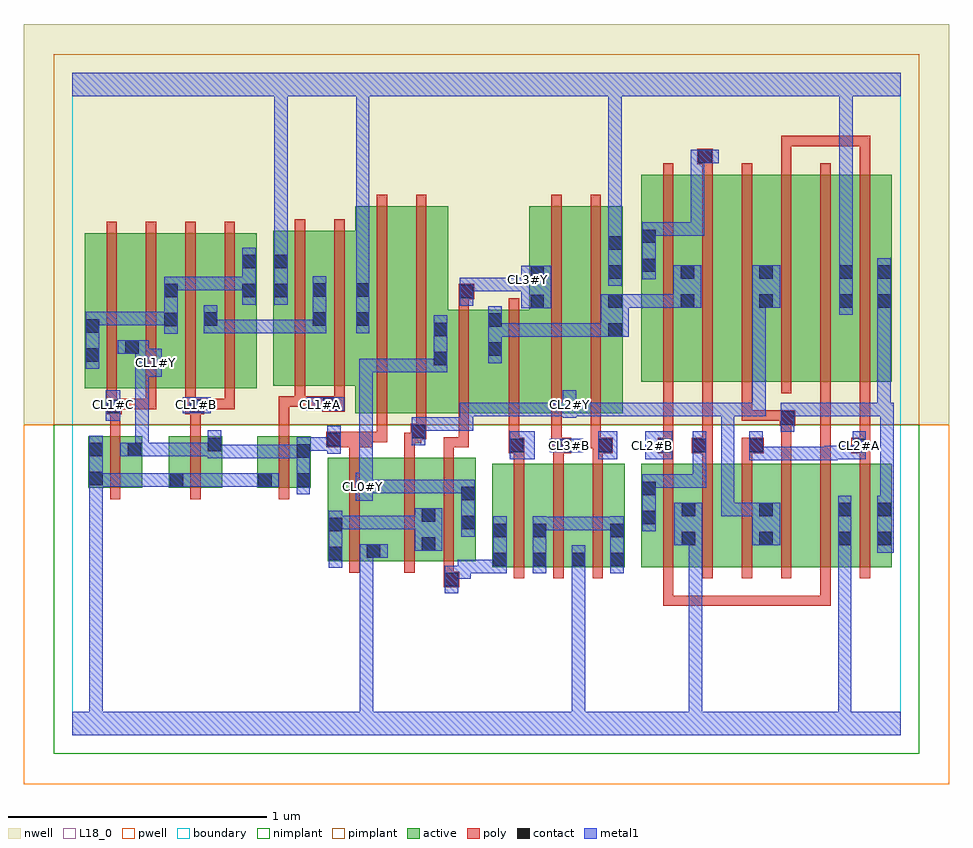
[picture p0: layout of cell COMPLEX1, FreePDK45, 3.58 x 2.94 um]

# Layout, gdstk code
import gdstk
lib = gdstk.Library(unit=1e-6, precision=1e-09)
def R(c, l, rs):  # rectangles x0, y0, x1, y1
    for r in rs: c.add(gdstk.rectangle(r[:2], r[2:], *l))
def A(c, l, x, y, w, h, nx, ny, dx, dy):  # array of equal rectangles
    R(c, l, [(x+i*dx, y+j*dy, x+i*dx+w, y+j*dy+h) for i in range(nx) for j in range(ny)])
active = (1, 0)
pwell = (2, 0)
nwell = (3, 0)
nimplant = (4, 0)
pimplant = (5, 0)
poly = (9, 0)
contact = (10, 0)
metal1 = (11, 0)
L18_0 = (18, 0)
boundary = (235, 0)

complex1 = lib.new_cell('COMPLEX1')
A(complex1, active, 0.048, 1.34, 0.212, 0.6, 3, 1, 0.152, 0)
R(complex1, active, [(1.622,0.65,1.834,1.05), (1.622,0.65,1.682,1.05), (1.774,0.65,1.986,1.05), (1.774,0.65,1.834,0.822), (1.926,0.65,2.134,1.05), (1.926,0.65,1.986,0.71), (2.074,0.65,2.134,1.05), (2.198,0.65,2.41,1.05), (2.35,0.65,2.53,1.05), (2.53,0.65,2.71,1.05), (2.65,0.65,2.834,1.05), (2.834,0.65,3.014,1.05), (2.954,0.65,3.166,1.05), (0.986,0.672,1.046,1.072), (0.986,0.672,1.194,1.072), (1.134,0.672,1.194,1.072), (1.134,0.672,1.406,1.072), (1.346,0.672,1.558,1.072), (1.346,0.672,1.406,1.072), (2.35,0.73,2.41,0.902), (2.65,0.73,2.71,0.902), (2.954,0.73,3.014,0.902), (3.106,0.73,3.166,1.05), (1.498,0.756,1.558,1.072), (2.198,0.756,2.258,1.05), (0.062,0.956,0.122,1.156), (0.062,0.956,0.27,1.156), (0.21,0.956,0.27,1.156), (0.372,0.956,0.432,1.156), (0.372,0.956,0.58,1.156), (0.52,0.956,0.58,1.156), (0.714,0.956,0.774,1.156), (0.714,0.956,0.922,1.156), (0.862,0.956,0.922,1.156), (1.092,1.244,1.272,2.044), (1.272,1.244,1.452,2.044), (1.392,1.244,1.452,1.644), (1.392,1.244,1.662,1.644), (1.602,1.244,1.662,1.644), (1.602,1.244,1.826,1.644), (1.766,1.244,1.946,2.044), (1.946,1.244,2.126,2.044), (2.066,1.244,2.126,2.044), (0.048,1.34,0.108,1.844), (0.352,1.34,0.412,1.844), (0.504,1.34,0.712,1.94), (0.504,1.34,0.564,1.844), (0.652,1.34,0.712,1.86), (0.776,1.35,0.984,1.95), (0.776,1.35,0.836,1.95), (0.924,1.35,1.152,1.95), (0.924,1.35,0.984,1.844), (2.198,1.366,2.258,2.044), (2.198,1.366,2.406,2.166), (2.346,1.366,2.53,2.166), (2.53,1.366,2.71,2.166), (2.65,1.366,2.71,2.044), (2.65,1.366,2.834,2.166), (2.834,1.366,3.018,2.166), (2.958,1.366,3.166,2.166), (3.106,1.366,3.166,2.044), (0.2,1.47,0.26,1.844), (1.092,1.578,1.152,1.844), (1.766,1.644,1.826,1.818), (2.346,1.648,2.406,2.044), (2.958,1.648,3.018,2.044)])
R(complex1, pwell, [(-0.188,-0.188,3.388,1.2)])
R(complex1, nwell, [(-0.188,1.2,3.388,2.748)])
R(complex1, nimplant, [(-0.072,-0.072,3.272,1.2)])
R(complex1, pimplant, [(-0.072,1.2,3.272,2.632)])
A(complex1, poly, 1.706, 0.606, 0.04, 0.488, 3, 1, 0.152, 0)
A(complex1, poly, 2.282, 0.606, 0.04, 0.488, 6, 1, 0.152, 0)
A(complex1, poly, 1.706, 1.054, 0.04, 0.076, 3, 1, 0.152, 0)
A(complex1, poly, 2.282, 1.054, 0.04, 0.076, 3, 1, 0.152, 0)
A(complex1, poly, 0.132, 1.26, 0.04, 0.076, 4, 1, 0.152, 0)
A(complex1, poly, 0.132, 1.296, 0.04, 0.688, 4, 1, 0.152, 0)
A(complex1, poly, 2.282, 1.322, 0.04, 0.888, 6, 1, 0.152, 0)
R(complex1, poly, [(2.282,0.5,2.322,0.646), (2.282,0.5,2.322,0.54), (2.282,0.5,2.322,0.54), (2.282,0.5,2.322,0.54), (2.282,0.5,2.52,0.54), (2.48,0.5,2.52,0.54), (2.48,0.5,2.52,0.54), (2.48,0.5,2.52,0.54), (2.48,0.5,2.666,0.54), (2.626,0.5,2.666,0.54), (2.626,0.5,2.666,0.54), (2.626,0.5,2.666,0.54), (2.626,0.5,2.824,0.54), (2.784,0.5,2.824,0.54), (2.784,0.5,2.93,0.54), (2.89,0.5,2.93,0.646), (2.89,0.5,2.93,0.54), (2.89,0.5,2.93,0.54), (2.89,0.5,2.93,0.54), (1.434,0.572,1.494,0.632), (1.434,0.592,1.474,0.668), (1.07,0.628,1.11,1.116), (1.282,0.628,1.322,1.116), (1.434,0.628,1.474,1.116), (0.146,0.912,0.186,1.2), (0.456,0.912,0.496,1.2), (0.798,0.912,0.838,1.2), (2.738,1.054,2.778,1.236), (2.89,1.054,2.93,1.208), (3.042,1.054,3.082,1.13), (1.07,1.076,1.11,1.152), (1.282,1.076,1.322,1.168), (1.434,1.076,1.474,1.152), (1.686,1.09,1.746,1.15), (1.858,1.09,1.928,1.15), (2.01,1.09,2.088,1.15), (2.262,1.09,2.322,1.15), (2.392,1.09,2.474,1.15), (2.586,1.09,2.672,1.15), (3.01,1.09,3.082,1.15), (1.686,1.11,1.726,1.15), (1.686,1.11,1.726,1.15), (1.686,1.11,1.726,1.24), (1.85,1.11,1.89,1.24), (1.85,1.11,1.898,1.15), (1.858,1.11,1.898,1.15), (2.002,1.11,2.042,1.24), (2.002,1.11,2.05,1.15), (2.01,1.11,2.05,1.15), (2.282,1.11,2.322,1.15), (2.282,1.11,2.322,1.15), (2.282,1.11,2.322,1.362), (2.434,1.11,2.474,1.15), (2.434,1.11,2.474,1.15), (2.434,1.11,2.474,1.362), (3.042,1.11,3.082,1.15), (3.042,1.11,3.082,1.15), (3.042,1.11,3.082,1.362), (0.98,1.112,1.158,1.172), (1.434,1.112,1.532,1.152), (1.492,1.112,1.532,1.152), (1.492,1.112,1.532,1.152), (1.492,1.112,1.532,1.24), (1.282,1.128,1.348,1.168), (1.308,1.128,1.348,1.184), (1.118,1.132,1.158,1.172), (1.118,1.132,1.216,1.172), (1.176,1.132,1.216,1.24), (1.308,1.144,1.368,1.204), (0.146,1.16,0.186,1.28), (0.456,1.16,0.496,1.28), (0.798,1.16,0.838,1.31), (1.328,1.164,1.368,1.24), (2.89,1.168,2.93,1.208), (2.89,1.168,2.93,1.208), (2.89,1.168,2.93,1.208), (2.89,1.168,2.93,1.362), (2.732,1.196,2.792,1.256), (2.738,1.196,2.778,1.236), (2.738,1.196,2.778,1.236), (1.176,1.2,1.216,2.088), (1.328,1.2,1.368,2.088), (1.492,1.2,1.532,1.688), (1.686,1.2,1.726,1.688), (1.85,1.2,1.89,2.088), (2.002,1.2,2.042,2.088), (2.586,1.216,2.626,1.362), (2.586,1.216,2.626,1.256), (2.586,1.216,2.772,1.256), (2.732,1.216,2.772,1.256), (2.732,1.216,2.772,1.256), (0.13,1.24,0.19,1.3), (0.146,1.24,0.186,1.28), (0.146,1.24,0.186,1.28), (0.436,1.24,0.51,1.3), (0.456,1.24,0.496,1.28), (0.456,1.24,0.496,1.28), (0.966,1.25,1.052,1.31), (0.15,1.26,0.324,1.3), (0.284,1.26,0.324,1.3), (0.284,1.26,0.324,1.3), (0.284,1.26,0.324,1.3), (0.47,1.26,0.628,1.3), (0.588,1.26,0.628,1.3), (0.588,1.26,0.628,1.3), (0.588,1.26,0.628,1.3), (0.798,1.27,0.838,1.31), (0.798,1.27,0.838,1.31), (0.798,1.27,0.9,1.31), (0.86,1.27,0.9,1.31), (0.86,1.27,0.9,1.31), (0.86,1.27,0.9,1.346), (0.86,1.27,1.006,1.31), (1.012,1.27,1.052,1.346), (0.86,1.306,0.9,1.994), (1.012,1.306,1.052,1.994), (1.492,1.648,1.532,1.724), (1.492,1.684,1.552,1.744), (2.434,2.17,2.474,2.246), (2.738,2.17,2.778,2.316), (3.042,2.17,3.082,2.316), (2.414,2.206,2.474,2.266), (2.738,2.276,2.778,2.316), (2.738,2.276,2.93,2.316), (2.89,2.276,2.93,2.316), (2.89,2.276,2.93,2.316), (2.89,2.276,2.93,2.316), (2.89,2.276,3.082,2.316), (3.042,2.276,3.082,2.316), (3.042,2.276,3.082,2.316), (3.042,2.276,3.082,2.316)])
A(complex1, contact, 1.626, 0.654, 0.052, 0.052, 3, 1, 0.152, 0)
A(complex1, contact, 2.07, 1.54, 0.052, 0.052, 1, 4, 0, 0.112)
R(complex1, contact, [(1.438,0.576,1.49,0.628), (2.078,0.654,2.13,0.706), (0.99,0.676,1.042,0.728), (1.138,0.686,1.19,0.738), (1.35,0.714,1.402,0.766), (2.354,0.734,2.406,0.786), (2.654,0.734,2.706,0.786), (2.958,0.734,3.01,0.786), (3.11,0.734,3.162,0.786), (1.626,0.766,1.678,0.818), (1.778,0.766,1.83,0.818), (2.078,0.766,2.13,0.818), (0.99,0.788,1.042,0.84), (1.502,0.796,1.554,0.848), (2.202,0.816,2.254,0.868), (1.35,0.826,1.402,0.878), (2.354,0.846,2.406,0.898), (2.654,0.846,2.706,0.898), (2.958,0.846,3.01,0.898), (3.11,0.846,3.162,0.898), (1.502,0.908,1.554,0.96), (2.202,0.928,2.254,0.98), (0.376,0.96,0.428,1.012), (0.718,0.96,0.77,1.012), (0.866,0.96,0.918,1.012), (0.066,0.966,0.118,1.018), (0.866,1.072,0.918,1.124), (0.066,1.078,0.118,1.13), (0.214,1.078,0.266,1.13), (1.69,1.094,1.742,1.146), (1.872,1.094,1.924,1.146), (2.032,1.094,2.084,1.146), (2.266,1.094,2.318,1.146), (2.396,1.094,2.448,1.146), (2.616,1.094,2.668,1.146), (3.014,1.094,3.066,1.146), (0.524,1.098,0.576,1.15), (0.984,1.116,1.036,1.168), (1.312,1.148,1.364,1.2), (2.736,1.2,2.788,1.252), (0.134,1.244,0.186,1.296), (0.454,1.244,0.506,1.296), (0.97,1.254,1.022,1.306), (1.396,1.43,1.448,1.482), (0.052,1.444,0.104,1.496), (1.606,1.466,1.658,1.518), (0.204,1.474,0.256,1.526), (1.396,1.542,1.448,1.594), (0.052,1.556,0.104,1.608), (1.606,1.578,1.658,1.63), (0.356,1.58,0.408,1.632), (0.508,1.582,0.56,1.634), (0.928,1.582,0.98,1.634), (1.096,1.582,1.148,1.634), (1.77,1.65,1.822,1.702), (2.35,1.652,2.402,1.704), (2.654,1.652,2.706,1.704), (2.962,1.652,3.014,1.704), (3.11,1.652,3.162,1.704), (1.496,1.688,1.548,1.74), (0.356,1.692,0.408,1.744), (0.656,1.692,0.708,1.744), (0.78,1.692,0.832,1.744), (0.928,1.694,0.98,1.746), (1.096,1.694,1.148,1.746), (1.77,1.762,1.822,1.814), (2.35,1.764,2.402,1.816), (2.654,1.764,2.706,1.816), (2.962,1.764,3.014,1.816), (3.11,1.764,3.162,1.816), (2.202,1.79,2.254,1.842), (0.656,1.804,0.708,1.856), (0.78,1.804,0.832,1.856), (2.202,1.902,2.254,1.954), (2.418,2.21,2.47,2.262)])
R(complex1, metal1, [(0,0,3.2,0.092), (0.066,0.04,0.118,0.092), (0.066,0.04,0.118,0.092), (0.066,0.04,0.118,0.092), (0.066,0.04,0.118,0.092), (0.066,0.04,0.118,0.092), (0.066,0.04,0.118,0.092), (0.066,0.04,0.118,0.092), (0.066,0.04,0.118,0.092), (0.066,0.04,0.118,0.092), (0.066,0.04,0.118,0.092), (0.066,0.04,0.118,0.092), (0.066,0.04,0.118,0.092), (0.066,0.04,0.118,0.99), (1.11,0.04,1.162,0.738), (1.93,0.04,1.982,0.092), (1.93,0.04,1.982,0.092), (1.93,0.04,1.982,0.108), (2.382,0.04,2.434,0.092), (2.382,0.04,2.434,0.092), (2.382,0.04,2.434,0.092), (2.382,0.04,2.434,0.092), (2.382,0.04,2.434,0.092), (2.382,0.04,2.434,0.092), (2.382,0.04,2.434,0.092), (2.382,0.04,2.434,0.092), (2.382,0.04,2.434,0.092), (2.382,0.04,2.434,0.092), (2.382,0.04,2.434,0.092), (2.382,0.04,2.434,0.092), (2.382,0.04,2.434,0.786), (2.958,0.04,3.01,0.092), (2.958,0.04,3.01,0.092), (2.958,0.04,3.01,0.092), (2.958,0.04,3.01,0.092), (2.958,0.04,3.01,0.092), (2.958,0.04,3.01,0.092), (2.958,0.04,3.01,0.092), (2.958,0.04,3.01,0.092), (2.958,0.04,3.01,0.092), (2.958,0.04,3.01,0.092), (2.958,0.04,3.01,0.092), (2.958,0.04,3.01,0.092), (2.958,0.04,3.01,0.758), (1.93,0.056,1.982,0.108), (1.93,0.056,1.982,0.108), (1.93,0.056,1.982,0.108), (1.93,0.056,1.982,0.108), (1.93,0.056,1.982,0.108), (1.93,0.056,1.982,0.678), (1.438,0.548,1.49,0.656), (1.438,0.604,1.54,0.656), (1.488,0.604,1.54,0.656), (1.488,0.604,1.54,0.678), (1.488,0.626,1.54,0.678), (1.488,0.626,1.678,0.678), (1.626,0.626,1.678,0.846), (1.778,0.626,1.83,0.846), (1.93,0.626,1.982,0.678), (1.93,0.626,1.982,0.678), (1.93,0.626,1.982,0.678), (1.93,0.626,1.982,0.678), (1.93,0.626,1.982,0.734), (2.078,0.626,2.13,0.846), (0.99,0.648,1.042,0.868), (1.11,0.686,1.162,0.738), (1.11,0.686,1.162,0.738), (1.11,0.686,1.162,0.738), (1.11,0.686,1.162,0.738), (1.11,0.686,1.162,0.738), (1.11,0.686,1.162,0.738), (1.11,0.686,1.162,0.738), (1.11,0.686,1.162,0.738), (1.11,0.686,1.162,0.738), (1.11,0.686,1.162,0.738), (1.11,0.686,1.162,0.738), (1.11,0.686,1.162,0.738), (1.11,0.686,1.218,0.738), (2.958,0.706,3.01,0.926), (3.11,0.706,3.174,0.926), (1.322,0.714,1.43,0.878), (2.326,0.734,2.434,0.898), (2.626,0.734,2.734,0.898), (1.502,0.768,1.554,0.988), (2.202,0.788,2.254,1.008), (1.778,0.792,1.83,0.844), (1.778,0.792,1.83,0.844), (1.778,0.792,1.946,0.844), (1.894,0.792,1.946,0.844), (1.894,0.792,2.13,0.844), (2.078,0.792,2.13,0.844), (2.078,0.792,2.13,0.844), (0.99,0.796,1.042,0.848), (0.99,0.796,1.042,0.848), (0.99,0.796,1.254,0.848), (1.202,0.796,1.254,0.848), (1.202,0.796,1.374,0.848), (1.322,0.796,1.374,0.848), (1.322,0.796,1.374,0.848), (2.506,0.846,2.558,0.898), (2.506,0.846,2.558,0.898), (2.506,0.846,2.558,0.898), (2.506,0.846,2.558,0.898), (2.506,0.846,2.558,0.898), (2.506,0.846,2.678,0.898), (2.506,0.846,2.558,1.284), (3.122,0.874,3.174,1.284), (3.122,0.874,3.174,0.926), (3.122,0.874,3.174,0.926), (1.094,0.906,1.16,1.014), (0.866,0.932,0.918,1.152), (1.108,0.936,1.16,0.988), (1.108,0.936,1.16,0.988), (1.108,0.936,1.43,0.988), (1.378,0.936,1.43,0.988), (1.378,0.936,1.484,0.988), (1.432,0.936,1.484,0.988), (1.432,0.936,1.554,0.988), (1.502,0.936,1.554,0.988), (1.502,0.936,1.554,0.988), (0.066,0.938,0.118,1.158), (0.066,0.938,0.118,0.99), (0.066,0.938,0.118,0.99), (0.066,0.938,0.118,0.99), (0.066,0.938,0.118,0.99), (2.202,0.956,2.298,1.008), (2.246,0.956,2.298,1.008), (2.246,0.956,2.448,1.008), (2.396,0.956,2.448,1.008), (2.396,0.956,2.448,1.118), (0.066,0.96,0.118,1.012), (0.066,0.96,0.118,1.012), (0.066,0.96,0.29,1.012), (0.238,0.96,0.29,1.012), (0.238,0.96,0.296,1.012), (0.244,0.96,0.296,1.012), (0.244,0.96,0.4,1.012), (0.348,0.96,0.456,1.012), (0.404,0.96,0.456,1.012), (0.404,0.96,0.456,1.012), (0.404,0.96,0.566,1.012), (0.514,0.96,0.566,1.012), (0.514,0.96,0.566,1.012), (0.514,0.96,0.566,1.012), (0.514,0.96,0.686,1.012), (0.634,0.96,0.686,1.012), (0.634,0.96,0.742,1.012), (0.69,0.96,0.798,1.012), (1.108,0.962,1.16,1.014), (1.108,0.962,1.16,1.014), (1.108,0.962,1.16,1.454), (2.616,1.062,2.668,1.118), (2.616,1.062,2.846,1.114), (2.794,1.062,2.846,1.114), (2.794,1.062,2.846,1.114), (2.794,1.062,2.846,1.114), (2.794,1.062,2.956,1.114), (2.904,1.062,2.956,1.114), (2.904,1.062,2.956,1.114), (2.904,1.062,2.956,1.118), (1.69,1.066,1.786,1.174), (2.032,1.066,2.106,1.174), (2.214,1.066,2.318,1.174), (2.396,1.066,2.448,1.118), (2.396,1.066,2.448,1.118), (2.396,1.066,2.448,1.174), (2.616,1.066,2.668,1.118), (2.616,1.066,2.668,1.174), (2.904,1.066,3.066,1.118), (3.014,1.066,3.066,1.174), (0.524,1.07,0.576,1.122), (0.524,1.07,0.576,1.122), (0.524,1.07,0.686,1.122), (0.524,1.07,0.576,1.178), (0.634,1.07,0.686,1.122), (0.634,1.07,0.808,1.122), (0.756,1.07,0.808,1.122), (0.756,1.07,0.808,1.122), (0.756,1.07,0.808,1.122), (0.756,1.07,0.918,1.122), (0.186,1.078,0.296,1.13), (0.244,1.078,0.296,1.13), (0.244,1.078,0.296,1.13), (0.244,1.078,0.45,1.13), (0.244,1.078,0.296,1.438), (0.398,1.078,0.45,1.13), (0.398,1.078,0.45,1.13), (0.398,1.078,0.45,1.13), (0.398,1.078,0.576,1.13), (0.984,1.088,1.036,1.196), (1.844,1.094,1.974,1.146), (0.866,1.1,0.918,1.152), (0.866,1.1,0.918,1.152), (0.866,1.1,0.918,1.152), (0.866,1.1,0.918,1.152), (0.866,1.1,1.036,1.152), (0.984,1.1,1.036,1.152), (0.984,1.1,1.036,1.152), (1.312,1.12,1.364,1.228), (2.736,1.172,2.788,1.28), (1.312,1.176,1.364,1.228), (1.312,1.176,1.364,1.228), (1.312,1.176,1.548,1.228), (1.496,1.176,1.548,1.228), (1.496,1.176,1.548,1.228), (1.496,1.176,1.548,1.284), (0.13,1.216,0.186,1.334), (1.894,1.226,1.946,1.334), (2.736,1.228,2.788,1.28), (2.736,1.228,2.788,1.284), (1.496,1.232,1.676,1.284), (1.624,1.232,1.676,1.284), (1.624,1.232,1.676,1.284), (1.624,1.232,1.676,1.284), (1.624,1.232,1.836,1.284), (1.784,1.232,1.836,1.284), (1.784,1.232,1.836,1.284), (1.784,1.232,1.836,1.284), (1.784,1.232,1.946,1.284), (1.894,1.232,1.946,1.284), (1.894,1.232,1.946,1.284), (1.894,1.232,2.15,1.284), (2.098,1.232,2.15,1.284), (2.098,1.232,2.26,1.284), (2.208,1.232,2.26,1.284), (2.208,1.232,2.26,1.284), (2.208,1.232,2.26,1.284), (2.208,1.232,2.428,1.284), (2.376,1.232,2.428,1.284), (2.376,1.232,2.428,1.284), (2.376,1.232,2.428,1.284), (2.376,1.232,2.558,1.284), (2.506,1.232,2.558,1.284), (2.506,1.232,2.678,1.284), (2.626,1.232,2.678,1.284), (2.626,1.232,2.678,1.284), (2.626,1.232,2.678,1.284), (2.626,1.232,2.678,1.704), (2.736,1.232,2.956,1.284), (2.904,1.232,2.956,1.284), (2.904,1.232,2.956,1.284), (2.904,1.232,2.956,1.284), (2.904,1.232,3.162,1.284), (3.11,1.232,3.162,1.676), (3.11,1.232,3.162,1.284), (3.11,1.232,3.162,1.284), (3.11,1.232,3.174,1.284), (0.426,1.244,0.534,1.306), (0.906,1.254,1.05,1.306), (0.244,1.386,0.346,1.494), (1.108,1.402,1.16,1.454), (1.108,1.402,1.16,1.454), (1.108,1.402,1.16,1.454), (1.108,1.402,1.448,1.454), (1.396,1.402,1.448,1.622), (0.052,1.416,0.104,1.636), (1.606,1.438,1.658,1.658), (0.244,1.442,0.296,1.526), (0.176,1.474,0.296,1.526), (0.244,1.474,0.296,1.526), (0.244,1.474,0.296,1.526), (1.606,1.54,1.658,1.592), (1.606,1.54,1.658,1.592), (1.606,1.54,1.836,1.592), (1.784,1.54,1.836,1.592), (1.784,1.54,1.836,1.592), (1.784,1.54,1.836,1.592), (1.784,1.54,1.946,1.592), (1.894,1.54,1.946,1.592), (1.894,1.54,1.946,1.592), (1.894,1.54,1.946,1.592), (1.894,1.54,2.094,1.592), (2.042,1.54,2.15,1.704), (0.356,1.552,0.408,1.772), (0.508,1.554,0.56,1.662), (0.508,1.554,0.566,1.606), (0.514,1.554,0.566,1.606), (0.514,1.554,0.686,1.606), (0.634,1.554,0.686,1.606), (0.634,1.554,0.796,1.606), (0.744,1.554,0.796,1.606), (0.744,1.554,0.796,1.606), (0.744,1.554,0.796,1.606), (0.744,1.554,0.98,1.606), (0.928,1.554,0.98,1.774), (1.096,1.554,1.148,1.774), (0.052,1.584,0.104,1.636), (0.052,1.584,0.104,1.636), (0.052,1.584,0.228,1.636), (0.176,1.584,0.228,1.636), (0.176,1.584,0.298,1.636), (0.246,1.584,0.298,1.636), (0.246,1.584,0.408,1.636), (2.962,1.624,3.014,1.844), (3.11,1.624,3.162,1.844), (1.734,1.65,1.85,1.814), (2.098,1.652,2.26,1.704), (2.208,1.652,2.26,1.704), (2.208,1.652,2.26,1.704), (2.208,1.652,2.26,1.704), (2.208,1.652,2.374,1.704), (2.322,1.652,2.43,1.816), (2.626,1.652,2.734,1.816), (1.496,1.66,1.548,1.768), (0.656,1.664,0.708,1.884), (0.78,1.664,0.832,1.884), (1.496,1.716,1.548,1.768), (1.496,1.716,1.548,1.768), (1.496,1.716,1.658,1.768), (1.606,1.716,1.658,1.768), (1.606,1.716,1.658,1.768), (1.606,1.716,1.658,1.768), (1.606,1.716,1.786,1.768), (0.356,1.72,0.408,1.772), (0.356,1.72,0.408,1.772), (0.356,1.72,0.576,1.772), (0.524,1.72,0.576,1.772), (0.524,1.72,0.576,1.772), (0.524,1.72,0.576,1.772), (0.524,1.72,0.708,1.772), (1.096,1.722,1.148,1.774), (1.096,1.722,1.148,1.774), (1.096,1.722,1.148,1.774), (1.096,1.722,1.148,1.774), (1.096,1.722,1.148,1.774), (1.096,1.722,1.148,1.774), (1.096,1.722,1.148,1.774), (1.096,1.722,1.148,1.774), (1.096,1.722,1.148,2.52), (2.07,1.736,2.122,1.956), (2.202,1.762,2.254,1.982), (2.962,1.792,3.014,2.52), (0.78,1.832,0.832,1.884), (0.78,1.832,0.832,1.884), (0.78,1.832,0.832,2.52), (2.07,1.904,2.122,1.956), (2.07,1.904,2.122,1.956), (2.07,1.904,2.122,1.956), (2.07,1.904,2.122,1.956), (2.07,1.904,2.122,1.956), (2.07,1.904,2.122,1.956), (2.07,1.904,2.122,1.956), (2.07,1.904,2.122,1.956), (2.07,1.904,2.122,2.52), (2.202,1.93,2.26,1.982), (2.208,1.93,2.26,1.982), (2.208,1.93,2.442,1.982), (2.39,1.93,2.442,1.982), (2.39,1.93,2.442,2.262), (2.39,2.21,2.442,2.262), (2.39,2.21,2.442,2.262), (2.39,2.21,2.498,2.262), (0,2.468,3.2,2.56), (0.78,2.468,0.832,2.52), (0.78,2.468,0.832,2.52), (0.78,2.468,0.832,2.52), (0.78,2.468,0.832,2.52), (0.78,2.468,0.832,2.52), (0.78,2.468,0.832,2.52), (0.78,2.468,0.832,2.52), (0.78,2.468,0.832,2.52), (0.78,2.468,0.832,2.52), (0.78,2.468,0.832,2.52), (2.962,2.468,3.014,2.52), (2.962,2.468,3.014,2.52), (2.962,2.468,3.014,2.52), (2.962,2.468,3.014,2.52), (2.962,2.468,3.014,2.52), (2.962,2.468,3.014,2.52), (2.962,2.468,3.014,2.52), (2.962,2.468,3.014,2.52)])
A(complex1, L18_0, 1.734, 1.094, 0.052, 0.052, 4, 1, 0.16, 0)
R(complex1, L18_0, [(0,0,3.2,0.092), (0.066,0.04,0.118,0.092), (0.066,0.04,0.118,0.092), (0.066,0.04,0.118,0.092), (0.066,0.04,0.118,0.092), (0.066,0.04,0.118,0.092), (0.066,0.04,0.118,0.092), (0.066,0.04,0.118,0.092), (0.066,0.04,0.118,0.092), (0.066,0.04,0.118,0.092), (0.066,0.04,0.118,0.092), (0.066,0.04,0.118,0.092), (0.066,0.04,0.118,0.092), (0.066,0.04,0.118,0.99), (1.11,0.04,1.162,0.738), (1.93,0.04,1.982,0.092), (1.93,0.04,1.982,0.092), (1.93,0.04,1.982,0.108), (2.382,0.04,2.434,0.092), (2.382,0.04,2.434,0.092), (2.382,0.04,2.434,0.092), (2.382,0.04,2.434,0.092), (2.382,0.04,2.434,0.092), (2.382,0.04,2.434,0.092), (2.382,0.04,2.434,0.092), (2.382,0.04,2.434,0.092), (2.382,0.04,2.434,0.092), (2.382,0.04,2.434,0.092), (2.382,0.04,2.434,0.092), (2.382,0.04,2.434,0.092), (2.382,0.04,2.434,0.786), (2.958,0.04,3.01,0.092), (2.958,0.04,3.01,0.092), (2.958,0.04,3.01,0.092), (2.958,0.04,3.01,0.092), (2.958,0.04,3.01,0.092), (2.958,0.04,3.01,0.092), (2.958,0.04,3.01,0.092), (2.958,0.04,3.01,0.092), (2.958,0.04,3.01,0.092), (2.958,0.04,3.01,0.092), (2.958,0.04,3.01,0.092), (2.958,0.04,3.01,0.092), (2.958,0.04,3.01,0.758), (1.93,0.056,1.982,0.108), (1.93,0.056,1.982,0.108), (1.93,0.056,1.982,0.108), (1.93,0.056,1.982,0.108), (1.93,0.056,1.982,0.108), (1.93,0.056,1.982,0.678), (1.438,0.548,1.49,0.656), (1.438,0.604,1.54,0.656), (1.488,0.604,1.54,0.656), (1.488,0.604,1.54,0.678), (1.488,0.626,1.54,0.678), (1.488,0.626,1.678,0.678), (1.626,0.626,1.678,0.846), (1.93,0.626,1.982,0.678), (1.93,0.626,1.982,0.678), (1.93,0.626,1.982,0.678), (1.93,0.626,1.982,0.678), (1.93,0.626,1.982,0.734), (1.11,0.686,1.162,0.738), (1.11,0.686,1.162,0.738), (1.11,0.686,1.162,0.738), (1.11,0.686,1.162,0.738), (1.11,0.686,1.162,0.738), (1.11,0.686,1.162,0.738), (1.11,0.686,1.162,0.738), (1.11,0.686,1.162,0.738), (1.11,0.686,1.162,0.738), (1.11,0.686,1.162,0.738), (1.11,0.686,1.162,0.738), (1.11,0.686,1.162,0.738), (1.11,0.686,1.218,0.738), (2.958,0.706,3.01,0.926), (2.326,0.734,2.434,0.898), (2.626,0.734,2.734,0.898), (1.502,0.768,1.554,0.988), (2.506,0.846,2.558,0.898), (2.506,0.846,2.558,0.898), (2.506,0.846,2.558,0.898), (2.506,0.846,2.558,0.898), (2.506,0.846,2.558,0.898), (2.506,0.846,2.678,0.898), (2.506,0.846,2.558,1.284), (1.094,0.906,1.16,1.014), (0.866,0.932,0.918,1.152), (1.094,0.934,1.146,0.986), (1.108,0.936,1.16,0.988), (1.108,0.936,1.16,0.988), (1.108,0.936,1.43,0.988), (1.378,0.936,1.43,0.988), (1.378,0.936,1.484,0.988), (1.432,0.936,1.484,0.988), (1.432,0.936,1.554,0.988), (1.502,0.936,1.554,0.988), (1.502,0.936,1.554,0.988), (0.066,0.938,0.118,0.99), (0.066,0.938,0.118,0.99), (0.066,0.938,0.118,0.99), (0.066,0.938,0.118,0.99), (0.066,0.938,0.118,1.158), (0.066,0.96,0.118,1.012), (0.066,0.96,0.118,1.012), (0.066,0.96,0.29,1.012), (0.238,0.96,0.29,1.012), (0.238,0.96,0.296,1.012), (0.244,0.96,0.296,1.012), (0.244,0.96,0.4,1.012), (0.348,0.96,0.456,1.012), (0.404,0.96,0.456,1.012), (0.404,0.96,0.456,1.012), (0.404,0.96,0.566,1.012), (0.514,0.96,0.566,1.012), (0.514,0.96,0.566,1.012), (0.514,0.96,0.566,1.012), (0.514,0.96,0.686,1.012), (0.634,0.96,0.686,1.012), (0.634,0.96,0.742,1.012), (0.69,0.96,0.798,1.012), (1.108,0.962,1.16,1.014), (1.108,0.962,1.16,1.014), (1.108,0.962,1.16,1.454), (2.616,1.062,2.846,1.114), (2.616,1.062,2.668,1.118), (2.794,1.062,2.846,1.114), (2.794,1.062,2.846,1.114), (2.794,1.062,2.846,1.114), (2.794,1.062,2.956,1.114), (2.904,1.062,2.956,1.114), (2.904,1.062,2.956,1.114), (2.904,1.062,2.956,1.118), (1.69,1.066,1.786,1.174), (2.032,1.066,2.106,1.174), (2.214,1.066,2.318,1.174), (2.616,1.066,2.668,1.118), (2.616,1.066,2.668,1.174), (2.904,1.066,3.066,1.118), (3.014,1.066,3.066,1.174), (0.524,1.07,0.576,1.122), (0.524,1.07,0.576,1.122), (0.524,1.07,0.686,1.122), (0.524,1.07,0.576,1.178), (0.634,1.07,0.686,1.122), (0.634,1.07,0.808,1.122), (0.756,1.07,0.808,1.122), (0.756,1.07,0.808,1.122), (0.756,1.07,0.808,1.122), (0.756,1.07,0.918,1.122), (0.186,1.078,0.296,1.13), (0.244,1.078,0.296,1.13), (0.244,1.078,0.296,1.13), (0.244,1.078,0.296,1.438), (0.244,1.078,0.45,1.13), (0.398,1.078,0.45,1.13), (0.398,1.078,0.45,1.13), (0.398,1.078,0.45,1.13), (0.398,1.078,0.576,1.13), (0.984,1.088,1.036,1.196), (1.844,1.094,1.974,1.146), (3.014,1.094,3.066,1.146), (0.866,1.1,0.918,1.152), (0.866,1.1,0.918,1.152), (0.866,1.1,0.918,1.152), (0.866,1.1,0.918,1.152), (0.866,1.1,1.036,1.152), (0.984,1.1,1.036,1.152), (0.984,1.1,1.036,1.152), (1.312,1.12,1.364,1.228), (1.312,1.176,1.364,1.228), (1.312,1.176,1.364,1.228), (1.312,1.176,1.548,1.228), (1.496,1.176,1.548,1.228), (1.496,1.176,1.548,1.228), (1.496,1.176,1.548,1.284), (0.13,1.216,0.186,1.334), (1.894,1.226,1.946,1.334), (1.496,1.232,1.676,1.284), (1.624,1.232,1.676,1.284), (1.624,1.232,1.676,1.284), (1.624,1.232,1.676,1.284), (1.624,1.232,1.836,1.284), (1.784,1.232,1.836,1.284), (1.784,1.232,1.836,1.284), (1.784,1.232,1.836,1.284), (1.784,1.232,1.946,1.284), (1.894,1.232,1.946,1.284), (1.894,1.232,1.946,1.284), (1.894,1.232,2.15,1.284), (2.098,1.232,2.15,1.284), (2.098,1.232,2.26,1.284), (2.208,1.232,2.26,1.284), (2.208,1.232,2.26,1.284), (2.208,1.232,2.26,1.284), (2.208,1.232,2.428,1.284), (2.376,1.232,2.428,1.284), (2.376,1.232,2.428,1.284), (2.376,1.232,2.428,1.284), (2.376,1.232,2.558,1.284), (2.506,1.232,2.558,1.284), (2.506,1.232,2.678,1.284), (2.626,1.232,2.678,1.284), (2.626,1.232,2.678,1.284), (2.626,1.232,2.678,1.284), (2.626,1.232,2.678,1.704), (0.426,1.244,0.534,1.306), (0.134,1.254,0.186,1.306), (0.454,1.254,0.506,1.306), (0.906,1.254,1.05,1.306), (0.934,1.254,0.986,1.306), (1.894,1.254,1.946,1.306), (0.244,1.386,0.346,1.494), (1.108,1.402,1.16,1.454), (1.108,1.402,1.16,1.454), (1.108,1.402,1.16,1.454), (1.108,1.402,1.448,1.454), (1.396,1.402,1.448,1.622), (0.294,1.414,0.346,1.466), (1.606,1.438,1.658,1.658), (0.244,1.442,0.296,1.526), (0.176,1.474,0.296,1.526), (0.244,1.474,0.296,1.526), (0.244,1.474,0.296,1.526), (1.606,1.54,1.658,1.592), (1.606,1.54,1.658,1.592), (1.606,1.54,1.836,1.592), (1.784,1.54,1.836,1.592), (1.784,1.54,1.836,1.592), (1.784,1.54,1.836,1.592), (1.784,1.54,1.946,1.592), (1.894,1.54,1.946,1.592), (1.894,1.54,1.946,1.592), (1.894,1.54,1.946,1.592), (1.894,1.54,2.094,1.592), (2.042,1.54,2.15,1.704), (1.096,1.554,1.148,1.774), (2.962,1.624,3.014,1.844), (1.734,1.65,1.85,1.814), (2.098,1.652,2.26,1.704), (2.208,1.652,2.26,1.704), (2.208,1.652,2.26,1.704), (2.208,1.652,2.26,1.704), (2.208,1.652,2.374,1.704), (2.322,1.652,2.43,1.816), (2.626,1.652,2.734,1.816), (1.496,1.66,1.548,1.768), (0.78,1.664,0.832,1.884), (1.496,1.716,1.548,1.768), (1.496,1.716,1.548,1.768), (1.496,1.716,1.658,1.768), (1.606,1.716,1.658,1.768), (1.606,1.716,1.658,1.768), (1.606,1.716,1.658,1.768), (1.606,1.716,1.786,1.768), (1.096,1.722,1.148,1.774), (1.096,1.722,1.148,1.774), (1.096,1.722,1.148,1.774), (1.096,1.722,1.148,1.774), (1.096,1.722,1.148,1.774), (1.096,1.722,1.148,1.774), (1.096,1.722,1.148,1.774), (1.096,1.722,1.148,1.774), (1.096,1.722,1.148,2.52), (1.734,1.734,1.786,1.786), (2.07,1.736,2.122,1.956), (2.962,1.792,3.014,2.52), (0.78,1.832,0.832,1.884), (0.78,1.832,0.832,1.884), (0.78,1.832,0.832,2.52), (2.07,1.904,2.122,1.956), (2.07,1.904,2.122,1.956), (2.07,1.904,2.122,1.956), (2.07,1.904,2.122,1.956), (2.07,1.904,2.122,1.956), (2.07,1.904,2.122,1.956), (2.07,1.904,2.122,1.956), (2.07,1.904,2.122,1.956), (2.07,1.904,2.122,2.52), (0,2.468,3.2,2.56), (0.78,2.468,0.832,2.52), (0.78,2.468,0.832,2.52), (0.78,2.468,0.832,2.52), (0.78,2.468,0.832,2.52), (0.78,2.468,0.832,2.52), (0.78,2.468,0.832,2.52), (0.78,2.468,0.832,2.52), (0.78,2.468,0.832,2.52), (0.78,2.468,0.832,2.52), (0.78,2.468,0.832,2.52), (2.962,2.468,3.014,2.52), (2.962,2.468,3.014,2.52), (2.962,2.468,3.014,2.52), (2.962,2.468,3.014,2.52), (2.962,2.468,3.014,2.52), (2.962,2.468,3.014,2.52), (2.962,2.468,3.014,2.52), (2.962,2.468,3.014,2.52)])
R(complex1, boundary, [(0,0,3.2,2.56)])
complex1.add(gdstk.Label('CL0#Y', (1.12,0.96), layer=11, texttype=0))
complex1.add(gdstk.Label('CL1#A', (0.96,1.28), layer=11, texttype=0))
complex1.add(gdstk.Label('CL1#B', (0.48,1.28), layer=11, texttype=0))
complex1.add(gdstk.Label('CL1#C', (0.16,1.28), layer=11, texttype=0))
complex1.add(gdstk.Label('CL1#Y', (0.32,1.44), layer=11, texttype=0))
complex1.add(gdstk.Label('CL2#A', (3.04,1.12), layer=11, texttype=0))
complex1.add(gdstk.Label('CL2#B', (2.24,1.12), layer=11, texttype=0))
complex1.add(gdstk.Label('CL2#Y', (1.92,1.28), layer=11, texttype=0))
complex1.add(gdstk.Label('CL3#A', (2.08,1.12), layer=11, texttype=0))
complex1.add(gdstk.Label('CL3#B', (1.92,1.12), layer=11, texttype=0))
complex1.add(gdstk.Label('CL3#C', (1.76,1.12), layer=11, texttype=0))
complex1.add(gdstk.Label('CL3#Y', (1.76,1.76), layer=11, texttype=0))

lib.write_gds('COMPLEX1.gds')
